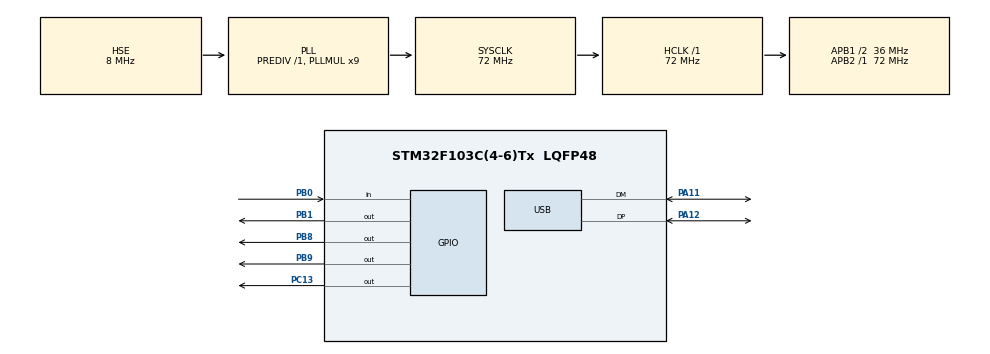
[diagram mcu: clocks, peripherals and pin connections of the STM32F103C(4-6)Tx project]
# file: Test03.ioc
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Mcu.Family=STM32F1
Mcu.Name=STM32F103C(4-6)Tx
Mcu.Package=LQFP48
NVIC.PriorityGroup=NVIC_PRIORITYGROUP_4
NVIC.USB_LP_CAN1_RX0_IRQn=true\:0\:0\:false\:false\:true\:false\:true
PA11.Mode=Device
PA11.Signal=USB_DM
PA12.Mode=Device
PA12.Signal=USB_DP
PA13.Mode=Serial_Wire
PA13.Signal=SYS_JTMS-SWDIO
PA14.Mode=Serial_Wire
PA14.Signal=SYS_JTCK-SWCLK
PB0.GPIO_PuPd=GPIO_PULLUP
PB0.Signal=GPIO_Input
PB1.GPIO_Speed=GPIO_SPEED_FREQ_MEDIUM
PB1.Signal=GPIO_Output
PB8.GPIO_ModeDefaultOutputPP=GPIO_MODE_OUTPUT_PP
PB8.GPIO_Speed=GPIO_SPEED_FREQ_HIGH
PB8.Signal=GPIO_Output
PB9.GPIO_ModeDefaultOutputPP=GPIO_MODE_OUTPUT_OD
PB9.GPIO_Speed=GPIO_SPEED_FREQ_HIGH
PB9.PinState=GPIO_PIN_SET
PB9.Signal=GPIO_Output
PC13-TAMPER-RTC.Signal=GPIO_Output
PD0-OSC_IN.Mode=HSE-External-Oscillator
PD0-OSC_IN.Signal=RCC_OSC_IN
PD1-OSC_OUT.Mode=HSE-External-Oscillator
PD1-OSC_OUT.Signal=RCC_OSC_OUT
ProjectManager.HeapSize=0x200
ProjectManager.StackSize=0x400
ProjectManager.TargetToolchain=STM32CubeIDE
RCC.AHBFreq_Value=72000000
RCC.APB1CLKDivider=RCC_HCLK_DIV2
RCC.APB1Freq_Value=36000000
RCC.APB1TimFreq_Value=72000000
RCC.APB2Freq_Value=72000000
RCC.APB2TimFreq_Value=72000000
RCC.HCLKFreq_Value=72000000
RCC.PLLMUL=RCC_PLL_MUL9
RCC.SYSCLKFreq_VALUE=72000000
RCC.SYSCLKSource=RCC_SYSCLKSOURCE_PLLCLK
RCC.USBFreq_Value=48000000
RCC.USBPrescaler=RCC_USBCLKSOURCE_PLL_DIV1_5
TIM3.Prescaler=0
USB_DEVICE.APP_RX_DATA_SIZE=512
USB_DEVICE.APP_TX_DATA_SIZE=512
USB_DEVICE.CLASS_NAME_FS=CDC
USB_DEVICE.USBD_MAX_STR_DESC_SIZ=512
USB_DEVICE.USBD_SELF_POWERED=0
USB_DEVICE.VirtualMode=Cdc
USB_DEVICE.VirtualModeFS=Cdc_FS
VP_TIM1_VS_ClockSourceINT.Mode=Internal
VP_TIM2_VS_ClockSourceINT.Mode=Internal
VP_TIM3_VS_ClockSourceINT.Mode=Internal
VP_USB_DEVICE_VS_USB_DEVICE_CDC_FS.Mode=CDC_FS
board=custom

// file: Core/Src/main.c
/* USER CODE BEGIN Header */

/*

 Ardulink 1-Wire WCH (CH32V003) based on STM32F103C6T6 USB CDC, made with STM32CubeIDE 1.7.0
 VSlaon variant

 SDI pin at GPIOB GPIO_PIN_9

 TIM3 used for SWIO delays
 APB1 clock 24Mhz
 TIM3 clock 24MHz, 41.67ns
*/

/* USER CODE END Header */
#include "main.h"
#include "usb_device.h"

/* USER CODE BEGIN Includes */
#include "usbd_cdc_if.h"
#include "VSL_Buffer.h"
#include "VSL_WCH_SDI.h"

/* USER CODE END Includes */

/* USER CODE BEGIN PD */
#define PROTOCOL_START     '!'
#define PROTOCOL_ACK       '+'
#define PROTOCOL_TEST      '?'
#define PROTOCOL_POWER_ON  'p'
#define PROTOCOL_POWER_OFF 'P'
#define PROTOCOL_WRITE_REG 'w'
#define PROTOCOL_READ_REG  'r'

/* USER CODE END PD */

TIM_HandleTypeDef htim1;
TIM_HandleTypeDef htim2;
TIM_HandleTypeDef htim3;

/* USER CODE BEGIN PV */
extern uint8_t cnt2Hz;
extern uint8_t flag2Hz;
extern uint8_t usbRxFlag;
extern uint8_t usbRxLen;

extern uint8_t UserRxBufferFS[APP_RX_DATA_SIZE];
extern uint8_t UserTxBufferFS[APP_RX_DATA_SIZE];

uint8_t fFirst0 = 0;
uint8_t tmp01 = 0;

RingBuffer rxBuffA;
uint8_t rxCmd = 0;
uint8_t rxCmdData = 0;
uint8_t rxCmdDataLen = 0;
uint8_t rxCmdDataCnt = 0;
uint8_t rxCmdBuff[8];

/* USER CODE END PV */

void SystemClock_Config(void);
static void MX_GPIO_Init(void);
static void MX_TIM3_Init(void);
static void MX_TIM1_Init(void);
static void MX_TIM2_Init(void);
/* USER CODE BEGIN PFP */

uint32_t u8tou32(uint8_t *p);
void u32tou8(uint32_t u32In, uint8_t *p);

/* USER CODE END PFP */

int main(void)
{
  /* USER CODE BEGIN 1 */
  uint8_t c1, len1;
  uint8_t *ptr1;
  uint8_t swioReg;
  uint32_t swioVal;

  /* USER CODE END 1 */

  /* MCU Configuration--------------------------------------------------------*/

  /* Reset of all peripherals, Initializes the Flash interface and the Systick. */
  HAL_Init();

  /* Configure the system clock */
  SystemClock_Config();

  /* USER CODE BEGIN SysInit */
  HAL_InitTick(TICK_INT_PRIORITY);

  /* USER CODE END SysInit */

  /* Initialize all configured peripherals */
  MX_GPIO_Init();
  MX_USB_DEVICE_Init();
  MX_TIM3_Init();
  MX_TIM1_Init();
  MX_TIM2_Init();
  /* USER CODE BEGIN 2 */
  //HAL_GPIO_WritePin(GPIOB, GPIO_PIN_1, GPIO_PIN_SET);	// LED1 = ON
  HAL_TIM_Base_Start(&htim1);
  HAL_TIM_Base_Start(&htim3);

  rb_init(&rxBuffA, 256);

  /* USER CODE END 2 */

  /* Infinite loop */
  /* USER CODE BEGIN WHILE */

  HAL_GPIO_WritePin(GPIOC, GPIO_PIN_13, GPIO_PIN_RESET);	// LED = ON
  WCH_SDI_Init();
  UserTxBufferFS[0] = PROTOCOL_START;
  CDC_Transmit_FS(&UserTxBufferFS[0], 1);
  HAL_GPIO_WritePin(GPIOC, GPIO_PIN_13, GPIO_PIN_SET);		// LED = OFF

  /*
  WCH_Delay_Ms(1000);
  WCH_Delay_Ms(1000);

  __disable_irq();
  HAL_GPIO_WritePin(GPIOB, GPIO_PIN_8, GPIO_PIN_SET);
  //WCH_SDI_Write(0xF0, 0xF0F1F2F3);
  swioVal = WCH_SDI_Read(0xF0);
  HAL_GPIO_WritePin(GPIOB, GPIO_PIN_8, GPIO_PIN_RESET);
  __enable_irq();
 */

  while (1)
  {
	  if (usbRxFlag == 1)	// some data received over USB CDC
	  {
		  usbRxFlag = 0;
		  rb_write(&rxBuffA, &UserRxBufferFS[0], usbRxLen);
		  HAL_GPIO_WritePin(GPIOC, GPIO_PIN_13, GPIO_PIN_RESET);	// LED = ON

		  if (rxCmd == 0)	// no command, means ready for command
		  {
			  c1 = rb_read_byte(&rxBuffA);

			  if (c1 == PROTOCOL_TEST)	// single byte command, execute right here
			  {
				  rxCmd = c1;
				  //send answer here ...
				  UserTxBufferFS[0] = PROTOCOL_ACK;
				  CDC_Transmit_FS(&UserTxBufferFS[0], 1);
				  rxCmd = 0;

			  }

			  if (c1 == PROTOCOL_POWER_ON)	// single byte command, execute right here
			  {
				  rxCmd = c1;
				  HAL_GPIO_WritePin(GPIOB, GPIO_PIN_8, GPIO_PIN_SET);
				  //send answer ...
				  UserTxBufferFS[0] = PROTOCOL_ACK;
				  CDC_Transmit_FS(&UserTxBufferFS[0], 1);
				  rxCmd = 0;

			  }

			  if (c1 == PROTOCOL_POWER_OFF)	// single byte command, execute right here
			  {
				  rxCmd = c1;
				  HAL_GPIO_WritePin(GPIOB, GPIO_PIN_8, GPIO_PIN_RESET);
				  //send answer ...
				  UserTxBufferFS[0] = PROTOCOL_ACK;
				  CDC_Transmit_FS(&UserTxBufferFS[0], 1);
				  rxCmd = 0;
			  }

			  if (c1 == PROTOCOL_WRITE_REG)	// need to read 1uint8 + 1uint32 bytes
			  {
				  if (rxCmdData == 0)
				  {
					  rxCmd = c1;
					  rxCmdDataLen = 5;
					  rxCmdDataCnt = 0;
					  rxCmdData = 1;
				  }
			  }

			  if (c1 == PROTOCOL_READ_REG)	// need to read 1uint8, bytes
			  {
				  if (rxCmdData == 0)
				  {
					  rxCmd = c1;
					  rxCmdDataLen = 1;
					  rxCmdDataCnt = 0;
					  rxCmdData = 1;
				  }
			  }
		  }

			if (rxCmdData == 1)
			{
				if (rxBuffA.count > 0) // have available data
				{
					len1 = rb_read(&rxBuffA, &rxCmdBuff[0]+rxCmdDataCnt, rxCmdDataLen-rxCmdDataCnt);
					rxCmdDataCnt += len1;
				}

				if (rxCmdDataCnt == rxCmdDataLen)
				{
					// command data received for rxCmd
					//HAL_GPIO_WritePin(GPIOB, GPIO_PIN_1, GPIO_PIN_RESET);	// LED1 = ON
					if (rxCmd == PROTOCOL_WRITE_REG)
					{
						// do command
						swioReg = rxCmdBuff[0];
						ptr1 = &rxCmdBuff[1];
						swioVal = u8tou32(ptr1);
						// disable interrupts ???
						__disable_irq();
						WCH_SDI_Write(swioReg, swioVal);
						__enable_irq();
						// enable interrupts ???
						UserTxBufferFS[0] = PROTOCOL_ACK;
						//send answer ...
						CDC_Transmit_FS(&UserTxBufferFS[0], 1);

					}

					if (rxCmd == PROTOCOL_READ_REG)
					{
						// do command
						//HAL_GPIO_WritePin(GPIOB, GPIO_PIN_1, GPIO_PIN_SET);	// LED1 = ON
						swioReg = rxCmdBuff[0];
						// disable interrupts ???
						__disable_irq();
						swioVal = WCH_SDI_Read(swioReg);
						__enable_irq();
						// enable interrupts ???

						//u32tou8(swioVal, &UserTxBufferFS[0]);
						//send answer ...
						u32tou8(swioVal, &UserTxBufferFS[0]);
						CDC_Transmit_FS(&UserTxBufferFS[0], 4);

					}

					rxCmd = 0;
					rxCmdData = 0;
				}
			  }

		  HAL_GPIO_WritePin(GPIOC, GPIO_PIN_13, GPIO_PIN_SET);	// LED = OFF
	  }

	  if (flag2Hz == 1)
	  {
	  	flag2Hz = 0;
	  	if (fFirst0 == 0)
	  	{
	  		HAL_GPIO_WritePin(GPIOB, GPIO_PIN_1, GPIO_PIN_RESET);	// LED1 = OFF
	  		fFirst0 = 1;
	  	}

	  }
    /* USER CODE END WHILE */

  }
}

void SystemClock_Config(void)
{
  RCC_OscInitTypeDef RCC_OscInitStruct = {0};
  RCC_ClkInitTypeDef RCC_ClkInitStruct = {0};
  RCC_PeriphCLKInitTypeDef PeriphClkInit = {0};

  /** Initializes the RCC Oscillators according to the specified parameters
  * in the RCC_OscInitTypeDef structure.
  */
  RCC_OscInitStruct.OscillatorType = RCC_OSCILLATORTYPE_HSE;
  RCC_OscInitStruct.HSEState = RCC_HSE_ON;
  RCC_OscInitStruct.HSEPredivValue = RCC_HSE_PREDIV_DIV1;
  RCC_OscInitStruct.HSIState = RCC_HSI_ON;
  RCC_OscInitStruct.PLL.PLLState = RCC_PLL_ON;
  RCC_OscInitStruct.PLL.PLLSource = RCC_PLLSOURCE_HSE;
  RCC_OscInitStruct.PLL.PLLMUL = RCC_PLL_MUL9;
  if (HAL_RCC_OscConfig(&RCC_OscInitStruct) != HAL_OK)
  {
    Error_Handler();
  }
  /** Initializes the CPU, AHB and APB buses clocks
  */
  RCC_ClkInitStruct.ClockType = RCC_CLOCKTYPE_HCLK|RCC_CLOCKTYPE_SYSCLK
                              |RCC_CLOCKTYPE_PCLK1|RCC_CLOCKTYPE_PCLK2;
  RCC_ClkInitStruct.SYSCLKSource = RCC_SYSCLKSOURCE_PLLCLK;
  RCC_ClkInitStruct.AHBCLKDivider = RCC_SYSCLK_DIV1;
  RCC_ClkInitStruct.APB1CLKDivider = RCC_HCLK_DIV2;
  RCC_ClkInitStruct.APB2CLKDivider = RCC_HCLK_DIV1;

  if (HAL_RCC_ClockConfig(&RCC_ClkInitStruct, FLASH_LATENCY_2) != HAL_OK)
  {
    Error_Handler();
  }
  PeriphClkInit.PeriphClockSelection = RCC_PERIPHCLK_USB;
  PeriphClkInit.UsbClockSelection = RCC_USBCLKSOURCE_PLL_DIV1_5;
  if (HAL_RCCEx_PeriphCLKConfig(&PeriphClkInit) != HAL_OK)
  {
    Error_Handler();
  }
}

static void MX_TIM1_Init(void)
{

  TIM_ClockConfigTypeDef sClockSourceConfig = {0};
  TIM_MasterConfigTypeDef sMasterConfig = {0};

  htim1.Instance = TIM1;
  htim1.Init.Prescaler = 0;
  htim1.Init.CounterMode = TIM_COUNTERMODE_UP;
  htim1.Init.Period = 65535;
  htim1.Init.ClockDivision = TIM_CLOCKDIVISION_DIV1;
  htim1.Init.RepetitionCounter = 0;
  htim1.Init.AutoReloadPreload = TIM_AUTORELOAD_PRELOAD_DISABLE;
  if (HAL_TIM_Base_Init(&htim1) != HAL_OK)
  {
    Error_Handler();
  }
  sClockSourceConfig.ClockSource = TIM_CLOCKSOURCE_INTERNAL;
  if (HAL_TIM_ConfigClockSource(&htim1, &sClockSourceConfig) != HAL_OK)
  {
    Error_Handler();
  }
  sMasterConfig.MasterOutputTrigger = TIM_TRGO_RESET;
  sMasterConfig.MasterSlaveMode = TIM_MASTERSLAVEMODE_DISABLE;
  if (HAL_TIMEx_MasterConfigSynchronization(&htim1, &sMasterConfig) != HAL_OK)
  {
    Error_Handler();
  }

}

static void MX_TIM2_Init(void)
{

  TIM_ClockConfigTypeDef sClockSourceConfig = {0};
  TIM_MasterConfigTypeDef sMasterConfig = {0};

  htim2.Instance = TIM2;
  htim2.Init.Prescaler = 0;
  htim2.Init.CounterMode = TIM_COUNTERMODE_UP;
  htim2.Init.Period = 65535;
  htim2.Init.ClockDivision = TIM_CLOCKDIVISION_DIV1;
  htim2.Init.AutoReloadPreload = TIM_AUTORELOAD_PRELOAD_DISABLE;
  if (HAL_TIM_Base_Init(&htim2) != HAL_OK)
  {
    Error_Handler();
  }
  sClockSourceConfig.ClockSource = TIM_CLOCKSOURCE_INTERNAL;
  if (HAL_TIM_ConfigClockSource(&htim2, &sClockSourceConfig) != HAL_OK)
  {
    Error_Handler();
  }
  sMasterConfig.MasterOutputTrigger = TIM_TRGO_RESET;
  sMasterConfig.MasterSlaveMode = TIM_MASTERSLAVEMODE_DISABLE;
  if (HAL_TIMEx_MasterConfigSynchronization(&htim2, &sMasterConfig) != HAL_OK)
  {
    Error_Handler();
  }

}

static void MX_TIM3_Init(void)
{

  TIM_ClockConfigTypeDef sClockSourceConfig = {0};
  TIM_MasterConfigTypeDef sMasterConfig = {0};

  htim3.Instance = TIM3;
  htim3.Init.Prescaler = 0;
  htim3.Init.CounterMode = TIM_COUNTERMODE_UP;
  htim3.Init.Period = 65535;
  htim3.Init.ClockDivision = TIM_CLOCKDIVISION_DIV1;
  htim3.Init.AutoReloadPreload = TIM_AUTORELOAD_PRELOAD_DISABLE;
  if (HAL_TIM_Base_Init(&htim3) != HAL_OK)
  {
    Error_Handler();
  }
  sClockSourceConfig.ClockSource = TIM_CLOCKSOURCE_INTERNAL;
  if (HAL_TIM_ConfigClockSource(&htim3, &sClockSourceConfig) != HAL_OK)
  {
    Error_Handler();
  }
  sMasterConfig.MasterOutputTrigger = TIM_TRGO_RESET;
  sMasterConfig.MasterSlaveMode = TIM_MASTERSLAVEMODE_DISABLE;
  if (HAL_TIMEx_MasterConfigSynchronization(&htim3, &sMasterConfig) != HAL_OK)
  {
    Error_Handler();
  }

}

static void MX_GPIO_Init(void)
{
  GPIO_InitTypeDef GPIO_InitStruct = {0};

  /* GPIO Ports Clock Enable */
  __HAL_RCC_GPIOC_CLK_ENABLE();
  __HAL_RCC_GPIOD_CLK_ENABLE();
  __HAL_RCC_GPIOB_CLK_ENABLE();
  __HAL_RCC_GPIOA_CLK_ENABLE();

  /*Configure GPIO pin Output Level */
  HAL_GPIO_WritePin(GPIOC, GPIO_PIN_13, GPIO_PIN_RESET);

  /*Configure GPIO pin Output Level */
  HAL_GPIO_WritePin(GPIOB, GPIO_PIN_1|GPIO_PIN_8, GPIO_PIN_RESET);

  /*Configure GPIO pin Output Level */
  HAL_GPIO_WritePin(GPIOB, GPIO_PIN_9, GPIO_PIN_SET);

  /*Configure GPIO pin : PC13 */
  GPIO_InitStruct.Pin = GPIO_PIN_13;
  GPIO_InitStruct.Mode = GPIO_MODE_OUTPUT_PP;
  GPIO_InitStruct.Pull = GPIO_NOPULL;
  GPIO_InitStruct.Speed = GPIO_SPEED_FREQ_LOW;
  HAL_GPIO_Init(GPIOC, &GPIO_InitStruct);

  /*Configure GPIO pin : PB0 */
  GPIO_InitStruct.Pin = GPIO_PIN_0;
  GPIO_InitStruct.Mode = GPIO_MODE_INPUT;
  GPIO_InitStruct.Pull = GPIO_PULLUP;
  HAL_GPIO_Init(GPIOB, &GPIO_InitStruct);

  /*Configure GPIO pin : PB1 */
  GPIO_InitStruct.Pin = GPIO_PIN_1;
  GPIO_InitStruct.Mode = GPIO_MODE_OUTPUT_PP;
  GPIO_InitStruct.Pull = GPIO_NOPULL;
  GPIO_InitStruct.Speed = GPIO_SPEED_FREQ_MEDIUM;
  HAL_GPIO_Init(GPIOB, &GPIO_InitStruct);

  /*Configure GPIO pin : PB8 */
  GPIO_InitStruct.Pin = GPIO_PIN_8;
  GPIO_InitStruct.Mode = GPIO_MODE_OUTPUT_PP;
  GPIO_InitStruct.Pull = GPIO_NOPULL;
  GPIO_InitStruct.Speed = GPIO_SPEED_FREQ_HIGH;
  HAL_GPIO_Init(GPIOB, &GPIO_InitStruct);

  /*Configure GPIO pin : PB9 */
  GPIO_InitStruct.Pin = GPIO_PIN_9;
  GPIO_InitStruct.Mode = GPIO_MODE_OUTPUT_OD;
  GPIO_InitStruct.Pull = GPIO_NOPULL;
  GPIO_InitStruct.Speed = GPIO_SPEED_FREQ_HIGH;
  HAL_GPIO_Init(GPIOB, &GPIO_InitStruct);

}

/* USER CODE BEGIN 4 */

uint32_t u8tou32(uint8_t *p)
{
    // buff: L0 H0 L1 H1
	uint32_t u32Tmp;

    u32Tmp = p[3];
    u32Tmp <<= 8;
    u32Tmp += p[2];
    u32Tmp <<= 8;
    u32Tmp += p[1];
    u32Tmp <<= 8;
    u32Tmp += p[0];

    return u32Tmp;
}

void u32tou8(uint32_t u32In, uint8_t *p)
{
	// buff: L0 H0 L1 H1
	p[0] = u32In;
    u32In >>= 8;
    p[1] = u32In;
    u32In >>= 8;
    p[2] = u32In;
    u32In >>= 8;
    p[3] = u32In;
}

/* USER CODE END 4 */

void Error_Handler(void)
{
  __disable_irq();
  while (1)
  {
  }
}

/************************ (C) COPYRIGHT STMicroelectronics *****END OF FILE****/
